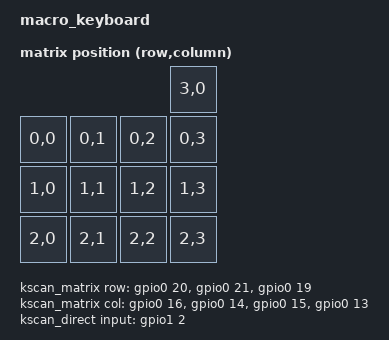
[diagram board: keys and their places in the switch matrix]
/*
 * Copyright (c) 2026 The ZMK Contributors
 * SPDX-License-Identifier: MIT
 */

/dts-v1/;

#include <nordic/nrf52840_qiaa.dtsi>
/* No UF2/Adafruit bootloader — firmware is flashed directly via SWD (pyocd) */
#include <dt-bindings/zmk/matrix_transform.h>
#include <physical_layouts.dtsi>

/ {
    model = "macro_keyboard";
    compatible = "nikolas,macro-keyboard";

    chosen {
        zephyr,code-partition = &code_partition;
        zephyr,sram = &sram0;
        zephyr,flash = &flash0;
        zmk,kscan = &kscan_composite;
        zmk,physical-layout = &physical_layout0;
        zmk,battery = &vbatt;
        zephyr,display = &oled;
    };

    kscan_matrix: kscan_matrix {
        compatible = "zmk,kscan-gpio-matrix";
        wakeup-source;
        diode-direction = "col2row";

        row-gpios
            = <&gpio0 20 (GPIO_ACTIVE_HIGH | GPIO_PULL_DOWN)>
            , <&gpio0 21 (GPIO_ACTIVE_HIGH | GPIO_PULL_DOWN)>
            , <&gpio0 19 (GPIO_ACTIVE_HIGH | GPIO_PULL_DOWN)>
            ;

        col-gpios
            = <&gpio0 16 GPIO_ACTIVE_HIGH>
            , <&gpio0 14 GPIO_ACTIVE_HIGH>
            , <&gpio0 15 GPIO_ACTIVE_HIGH>
            , <&gpio0 13 GPIO_ACTIVE_HIGH>
            ;
    };

    /*
     * Profile-switch button driven as a single direct-GPIO kscan input so it
     * can bind to a ZMK behavior (layer-cycle) instead of being a passive
     * gpio-keys input.
     */
    kscan_direct: kscan_direct {
        compatible = "zmk,kscan-gpio-direct";
        wakeup-source;
        input-gpios = <&gpio1 2 (GPIO_ACTIVE_LOW | GPIO_PULL_UP)>;
    };

    /* Composite combines the 12-key matrix with the 1-key profile button. */
    kscan_composite: kscan_composite {
        compatible = "zmk,kscan-composite";
        rows = <4>;
        columns = <4>;

        matrix {
            kscan = <&kscan_matrix>;
        };

        profile {
            kscan = <&kscan_direct>;
            row-offset = <3>;
        };
    };

    matrix_transform0: keymap_transform_0 {
        compatible = "zmk,matrix-transform";
        columns = <4>;
        rows = <4>;
        map = <
            RC(0,0) RC(0,1) RC(0,2) RC(0,3)
            RC(1,0) RC(1,1) RC(1,2) RC(1,3)
            RC(2,0) RC(2,1) RC(2,2) RC(2,3)
            RC(3,0)
        >;
    };

    physical_layout0: physical_layout_0 {
        compatible = "zmk,physical-layout";
        display-name = "3x4 + Profile";
        transform = <&matrix_transform0>;
        kscan = <&kscan_composite>;

        /*
         * Hardware places the profile button physically *above* the top-right
         * matrix key. We mirror that in the layout so ZMK Studio renders it
         * in the same spot the user is pressing.
         *
         *      +-----+
         *      | PRF |     <- pos 12 (profile button), at y=0
         *      +-----+
         *  +---+---+---+---+
         *  |0|1|2|3|         <- matrix row 0 lives at y=100
         *  +---+---+---+---+
         *  |4|5|6|7|
         *  +---+---+---+---+
         *  |8|9|10|11|
         *  +---+---+---+---+
         */
        keys  //                     w   h    x    y   rot  rx  ry
            = <&key_physical_attrs 100 100    0  100     0   0   0>
            , <&key_physical_attrs 100 100  100  100     0   0   0>
            , <&key_physical_attrs 100 100  200  100     0   0   0>
            , <&key_physical_attrs 100 100  300  100     0   0   0>
            , <&key_physical_attrs 100 100    0  200     0   0   0>
            , <&key_physical_attrs 100 100  100  200     0   0   0>
            , <&key_physical_attrs 100 100  200  200     0   0   0>
            , <&key_physical_attrs 100 100  300  200     0   0   0>
            , <&key_physical_attrs 100 100    0  300     0   0   0>
            , <&key_physical_attrs 100 100  100  300     0   0   0>
            , <&key_physical_attrs 100 100  200  300     0   0   0>
            , <&key_physical_attrs 100 100  300  300     0   0   0>
            , <&key_physical_attrs 100 100  300    0     0   0   0>
            ;
    };

    vbatt: vbatt {
        compatible = "zmk,battery-voltage-divider";
        io-channels = <&adc 2>; /* AIN2 = P0.04 */
        output-ohms = <1000000>;
        full-ohms = <(1000000 + 330000)>;
    };
};

&reg1 {
    regulator-initial-mode = <NRF5X_REG_MODE_DCDC>;
};

&adc {
    status = "okay";
};

&gpiote {
    status = "okay";
};

&gpio0 {
    status = "okay";
};

&gpio1 {
    status = "okay";
};

&pinctrl {
    i2c0_default: i2c0_default {
        group1 {
            psels = <NRF_PSEL(TWIM_SDA, 0, 24)>,
                    <NRF_PSEL(TWIM_SCL, 0, 25)>;
        };
    };

    i2c0_sleep: i2c0_sleep {
        group1 {
            psels = <NRF_PSEL(TWIM_SDA, 0, 24)>,
                    <NRF_PSEL(TWIM_SCL, 0, 25)>;
            low-power-enable;
        };
    };
};

&i2c0 {
    compatible = "nordic,nrf-twi";
    status = "okay";
    pinctrl-0 = <&i2c0_default>;
    pinctrl-1 = <&i2c0_sleep>;
    pinctrl-names = "default", "sleep";
    clock-frequency = <I2C_BITRATE_FAST>;

    oled: ssd1306@3c {
        status = "okay";
        compatible = "solomon,ssd1306fb";
        reg = <0x3c>;
        width = <128>;
        height = <64>;
        segment-offset = <0>;
        page-offset = <0>;
        display-offset = <0>;
        multiplex-ratio = <63>;
        segment-remap;
        com-invdir;
        prechargep = <0x22>;
    };
};

zephyr_udc0: &usbd {
    status = "okay";
};

&flash0 {
    /*
     * Flash layout for the Adafruit nRF52 UF2 bootloader (no SoftDevice).
     * The bootloader itself lives at 0x000F4000–0x00100000 and is installed
     * once via SWD; the application links at 0x00026000.
     *
     *   0x000000 – 0x025FFF  reserved by bootloader (MBR + bootloader header)
     *   0x026000 – 0x0EBFFF  code_partition     (~792 KB ZMK app)
     *   0x0EC000 – 0x0F3FFF  storage_partition   (32 KB NVS)
     *   0x0F4000 – 0x0FFFFF  reserved for bootloader code
     *
     * If the bootloader is ever removed (full chip-erase + direct-SWD only)
     * this layout must be reverted; see [BOOTLOADER WORKFLOW] in CLAUDE.md.
     */
    partitions {
        compatible = "fixed-partitions";
        #address-cells = <1>;
        #size-cells = <1>;

        code_partition: partition@26000 {
            reg = <0x00026000 0x000C6000>;
        };
        storage_partition: partition@ec000 {
            reg = <0x000EC000 0x00008000>;
        };
    };
};
